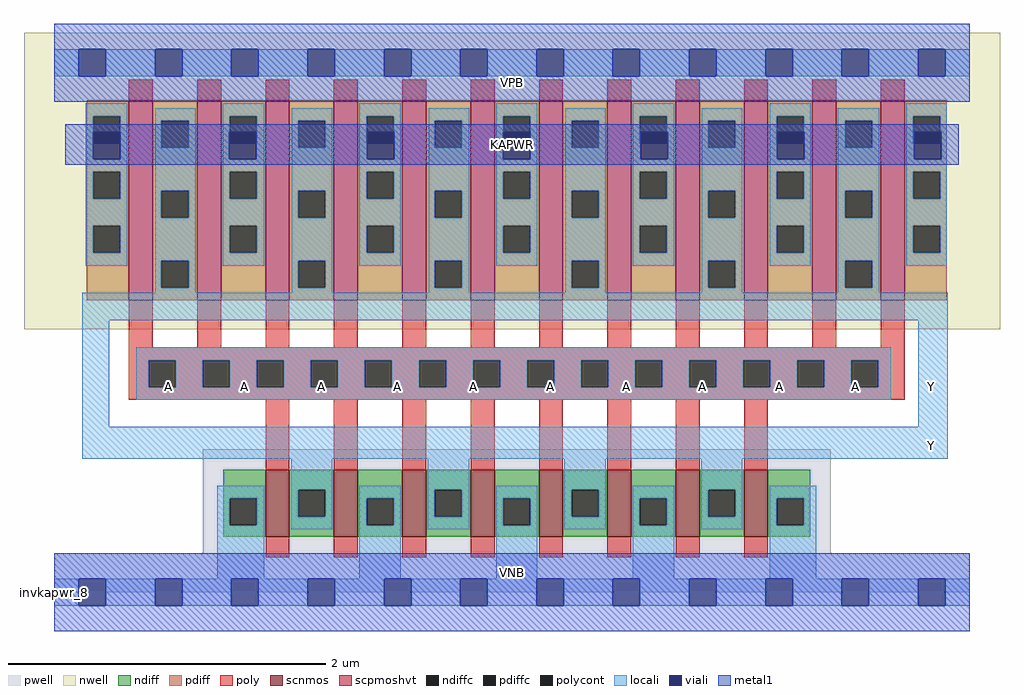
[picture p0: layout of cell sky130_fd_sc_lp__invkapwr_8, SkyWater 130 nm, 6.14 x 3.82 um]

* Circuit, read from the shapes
.subckt sky130_fd_sc_lp__invkapwr_8 A KAPWR VGND VNB VPB VPWR Y
XM1 Y A VGND VNB sky130_fd_pr__nfet_01v8 w=0.42 l=0.15 m=8
XM2 Y A KAPWR VPB sky130_fd_pr__pfet_01v8_hvt w=1.26 l=0.15 m=12
.ends

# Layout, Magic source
magic
tech sky130A
magscale 1 2
<< nwell >>
rect -38 331 1190 704
<< pwell >>
rect 187 49 977 180
rect 0 0 1152 49
<< scnmos >>
rect 266 70 296 154
rect 352 70 382 154
rect 438 70 468 154
rect 524 70 554 154
rect 610 70 640 154
rect 696 70 726 154
rect 782 70 812 154
rect 868 70 898 154
<< scpmoshvt >>
rect 94 367 124 619
rect 180 367 210 619
rect 266 367 296 619
rect 352 367 382 619
rect 438 367 468 619
rect 524 367 554 619
rect 610 367 640 619
rect 696 367 726 619
rect 782 367 812 619
rect 868 367 898 619
rect 954 367 984 619
rect 1040 367 1070 619
<< ndiff >>
rect 213 118 266 154
rect 213 84 221 118
rect 255 84 266 118
rect 213 70 266 84
rect 296 129 352 154
rect 296 95 307 129
rect 341 95 352 129
rect 296 70 352 95
rect 382 118 438 154
rect 382 84 393 118
rect 427 84 438 118
rect 382 70 438 84
rect 468 129 524 154
rect 468 95 479 129
rect 513 95 524 129
rect 468 70 524 95
rect 554 118 610 154
rect 554 84 565 118
rect 599 84 610 118
rect 554 70 610 84
rect 640 129 696 154
rect 640 95 651 129
rect 685 95 696 129
rect 640 70 696 95
rect 726 118 782 154
rect 726 84 737 118
rect 771 84 782 118
rect 726 70 782 84
rect 812 129 868 154
rect 812 95 823 129
rect 857 95 868 129
rect 812 70 868 95
rect 898 118 951 154
rect 898 84 909 118
rect 943 84 951 118
rect 898 70 951 84
<< pdiff >>
rect 41 599 94 619
rect 41 565 49 599
rect 83 565 94 599
rect 41 529 94 565
rect 41 495 49 529
rect 83 495 94 529
rect 41 461 94 495
rect 41 427 49 461
rect 83 427 94 461
rect 41 367 94 427
rect 124 593 180 619
rect 124 559 135 593
rect 169 559 180 593
rect 124 505 180 559
rect 124 471 135 505
rect 169 471 180 505
rect 124 417 180 471
rect 124 383 135 417
rect 169 383 180 417
rect 124 367 180 383
rect 210 599 266 619
rect 210 565 221 599
rect 255 565 266 599
rect 210 529 266 565
rect 210 495 221 529
rect 255 495 266 529
rect 210 461 266 495
rect 210 427 221 461
rect 255 427 266 461
rect 210 367 266 427
rect 296 593 352 619
rect 296 559 307 593
rect 341 559 352 593
rect 296 505 352 559
rect 296 471 307 505
rect 341 471 352 505
rect 296 417 352 471
rect 296 383 307 417
rect 341 383 352 417
rect 296 367 352 383
rect 382 599 438 619
rect 382 565 393 599
rect 427 565 438 599
rect 382 529 438 565
rect 382 495 393 529
rect 427 495 438 529
rect 382 461 438 495
rect 382 427 393 461
rect 427 427 438 461
rect 382 367 438 427
rect 468 593 524 619
rect 468 559 479 593
rect 513 559 524 593
rect 468 505 524 559
rect 468 471 479 505
rect 513 471 524 505
rect 468 417 524 471
rect 468 383 479 417
rect 513 383 524 417
rect 468 367 524 383
rect 554 599 610 619
rect 554 565 565 599
rect 599 565 610 599
rect 554 529 610 565
rect 554 495 565 529
rect 599 495 610 529
rect 554 461 610 495
rect 554 427 565 461
rect 599 427 610 461
rect 554 367 610 427
rect 640 593 696 619
rect 640 559 651 593
rect 685 559 696 593
rect 640 505 696 559
rect 640 471 651 505
rect 685 471 696 505
rect 640 417 696 471
rect 640 383 651 417
rect 685 383 696 417
rect 640 367 696 383
rect 726 599 782 619
rect 726 565 737 599
rect 771 565 782 599
rect 726 529 782 565
rect 726 495 737 529
rect 771 495 782 529
rect 726 461 782 495
rect 726 427 737 461
rect 771 427 782 461
rect 726 367 782 427
rect 812 593 868 619
rect 812 559 823 593
rect 857 559 868 593
rect 812 505 868 559
rect 812 471 823 505
rect 857 471 868 505
rect 812 417 868 471
rect 812 383 823 417
rect 857 383 868 417
rect 812 367 868 383
rect 898 599 954 619
rect 898 565 909 599
rect 943 565 954 599
rect 898 529 954 565
rect 898 495 909 529
rect 943 495 954 529
rect 898 461 954 495
rect 898 427 909 461
rect 943 427 954 461
rect 898 367 954 427
rect 984 593 1040 619
rect 984 559 995 593
rect 1029 559 1040 593
rect 984 505 1040 559
rect 984 471 995 505
rect 1029 471 1040 505
rect 984 417 1040 471
rect 984 383 995 417
rect 1029 383 1040 417
rect 984 367 1040 383
rect 1070 599 1123 619
rect 1070 565 1081 599
rect 1115 565 1123 599
rect 1070 529 1123 565
rect 1070 495 1081 529
rect 1115 495 1123 529
rect 1070 461 1123 495
rect 1070 427 1081 461
rect 1115 427 1123 461
rect 1070 367 1123 427
<< ndiffc >>
rect 221 84 255 118
rect 307 95 341 129
rect 393 84 427 118
rect 479 95 513 129
rect 565 84 599 118
rect 651 95 685 129
rect 737 84 771 118
rect 823 95 857 129
rect 909 84 943 118
<< pdiffc >>
rect 49 565 83 599
rect 49 495 83 529
rect 49 427 83 461
rect 135 559 169 593
rect 135 471 169 505
rect 135 383 169 417
rect 221 565 255 599
rect 221 495 255 529
rect 221 427 255 461
rect 307 559 341 593
rect 307 471 341 505
rect 307 383 341 417
rect 393 565 427 599
rect 393 495 427 529
rect 393 427 427 461
rect 479 559 513 593
rect 479 471 513 505
rect 479 383 513 417
rect 565 565 599 599
rect 565 495 599 529
rect 565 427 599 461
rect 651 559 685 593
rect 651 471 685 505
rect 651 383 685 417
rect 737 565 771 599
rect 737 495 771 529
rect 737 427 771 461
rect 823 559 857 593
rect 823 471 857 505
rect 823 383 857 417
rect 909 565 943 599
rect 909 495 943 529
rect 909 427 943 461
rect 995 559 1029 593
rect 995 471 1029 505
rect 995 383 1029 417
rect 1081 565 1115 599
rect 1081 495 1115 529
rect 1081 427 1115 461
<< poly >>
rect 94 619 124 645
rect 180 619 210 645
rect 266 619 296 645
rect 352 619 382 645
rect 438 619 468 645
rect 524 619 554 645
rect 610 619 640 645
rect 696 619 726 645
rect 782 619 812 645
rect 868 619 898 645
rect 954 619 984 645
rect 1040 619 1070 645
rect 94 308 124 367
rect 180 308 210 367
rect 266 308 296 367
rect 352 308 382 367
rect 438 308 468 367
rect 524 308 554 367
rect 610 308 640 367
rect 696 308 726 367
rect 782 308 812 367
rect 868 308 898 367
rect 954 308 984 367
rect 1040 308 1070 367
rect 94 292 1070 308
rect 94 258 119 292
rect 153 258 187 292
rect 221 258 255 292
rect 289 258 323 292
rect 357 258 391 292
rect 425 258 459 292
rect 493 258 527 292
rect 561 258 595 292
rect 629 258 663 292
rect 697 258 731 292
rect 765 258 799 292
rect 833 258 867 292
rect 901 258 935 292
rect 969 258 1003 292
rect 1037 258 1070 292
rect 94 242 1070 258
rect 266 154 296 242
rect 352 154 382 242
rect 438 154 468 242
rect 524 154 554 242
rect 610 154 640 242
rect 696 154 726 242
rect 782 154 812 242
rect 868 154 898 242
rect 266 44 296 70
rect 352 44 382 70
rect 438 44 468 70
rect 524 44 554 70
rect 610 44 640 70
rect 696 44 726 70
rect 782 44 812 70
rect 868 44 898 70
<< polycont >>
rect 119 258 153 292
rect 187 258 221 292
rect 255 258 289 292
rect 323 258 357 292
rect 391 258 425 292
rect 459 258 493 292
rect 527 258 561 292
rect 595 258 629 292
rect 663 258 697 292
rect 731 258 765 292
rect 799 258 833 292
rect 867 258 901 292
rect 935 258 969 292
rect 1003 258 1037 292
<< locali >>
rect 0 649 31 683
rect 65 649 127 683
rect 161 649 223 683
rect 257 649 319 683
rect 353 649 415 683
rect 449 649 511 683
rect 545 649 607 683
rect 641 649 703 683
rect 737 649 799 683
rect 833 649 895 683
rect 929 649 991 683
rect 1025 649 1087 683
rect 1121 649 1152 683
rect 40 599 92 615
rect 40 545 49 599
rect 83 545 92 599
rect 40 529 92 545
rect 40 495 49 529
rect 83 495 92 529
rect 40 461 92 495
rect 40 427 49 461
rect 83 427 92 461
rect 40 411 92 427
rect 127 593 178 609
rect 127 559 135 593
rect 169 559 178 593
rect 127 505 178 559
rect 127 471 135 505
rect 169 471 178 505
rect 127 417 178 471
rect 127 383 135 417
rect 169 383 178 417
rect 212 599 264 615
rect 212 579 221 599
rect 212 545 220 579
rect 255 565 264 599
rect 254 545 264 565
rect 212 529 264 545
rect 212 495 221 529
rect 255 495 264 529
rect 212 461 264 495
rect 212 427 221 461
rect 255 427 264 461
rect 212 411 264 427
rect 299 593 350 609
rect 299 559 307 593
rect 341 559 350 593
rect 299 505 350 559
rect 299 471 307 505
rect 341 471 350 505
rect 299 417 350 471
rect 127 377 178 383
rect 299 383 307 417
rect 341 383 350 417
rect 384 599 436 615
rect 384 565 393 599
rect 427 579 436 599
rect 384 545 394 565
rect 428 545 436 579
rect 384 529 436 545
rect 384 495 393 529
rect 427 495 436 529
rect 384 461 436 495
rect 384 427 393 461
rect 427 427 436 461
rect 384 411 436 427
rect 471 593 522 609
rect 471 559 479 593
rect 513 559 522 593
rect 471 505 522 559
rect 471 471 479 505
rect 513 471 522 505
rect 471 417 522 471
rect 299 377 350 383
rect 471 383 479 417
rect 513 383 522 417
rect 556 599 608 615
rect 556 545 565 599
rect 599 545 608 599
rect 556 529 608 545
rect 556 495 565 529
rect 599 495 608 529
rect 556 461 608 495
rect 556 427 565 461
rect 599 427 608 461
rect 556 411 608 427
rect 643 593 694 609
rect 643 559 651 593
rect 685 559 694 593
rect 643 505 694 559
rect 643 471 651 505
rect 685 471 694 505
rect 643 417 694 471
rect 471 377 522 383
rect 643 383 651 417
rect 685 383 694 417
rect 728 599 780 615
rect 728 565 737 599
rect 771 579 780 599
rect 728 545 738 565
rect 772 545 780 579
rect 728 529 780 545
rect 728 495 737 529
rect 771 495 780 529
rect 728 461 780 495
rect 728 427 737 461
rect 771 427 780 461
rect 728 411 780 427
rect 815 593 866 609
rect 815 559 823 593
rect 857 559 866 593
rect 815 505 866 559
rect 815 471 823 505
rect 857 471 866 505
rect 815 417 866 471
rect 643 377 694 383
rect 815 383 823 417
rect 857 383 866 417
rect 900 599 952 615
rect 900 565 909 599
rect 943 579 952 599
rect 900 545 910 565
rect 944 545 952 579
rect 900 529 952 545
rect 900 495 909 529
rect 943 495 952 529
rect 900 461 952 495
rect 900 427 909 461
rect 943 427 952 461
rect 900 411 952 427
rect 986 593 1038 609
rect 986 559 995 593
rect 1029 559 1038 593
rect 986 505 1038 559
rect 986 471 995 505
rect 1029 471 1038 505
rect 986 417 1038 471
rect 815 377 866 383
rect 986 383 995 417
rect 1029 383 1038 417
rect 1072 599 1123 615
rect 1072 565 1081 599
rect 1115 579 1123 599
rect 1072 545 1082 565
rect 1116 545 1123 579
rect 1072 529 1123 545
rect 1072 495 1081 529
rect 1115 495 1123 529
rect 1072 461 1123 495
rect 1072 427 1081 461
rect 1115 427 1123 461
rect 1072 411 1123 427
rect 986 377 1038 383
rect 35 342 1124 377
rect 35 208 69 342
rect 103 292 1053 308
rect 103 258 119 292
rect 153 258 187 292
rect 221 258 255 292
rect 289 258 323 292
rect 357 258 391 292
rect 425 258 459 292
rect 493 258 527 292
rect 561 258 595 292
rect 629 258 663 292
rect 697 258 731 292
rect 765 258 799 292
rect 833 258 867 292
rect 901 258 935 292
rect 969 258 1003 292
rect 1037 258 1053 292
rect 103 242 1053 258
rect 1087 208 1124 342
rect 35 168 1124 208
rect 205 118 264 134
rect 205 84 221 118
rect 255 84 264 118
rect 205 17 264 84
rect 298 129 350 168
rect 298 95 307 129
rect 341 95 350 129
rect 298 79 350 95
rect 384 118 436 134
rect 384 84 393 118
rect 427 84 436 118
rect 384 17 436 84
rect 470 129 522 168
rect 470 95 479 129
rect 513 95 522 129
rect 470 79 522 95
rect 556 118 608 134
rect 556 84 565 118
rect 599 84 608 118
rect 556 17 608 84
rect 642 129 694 168
rect 642 95 651 129
rect 685 95 694 129
rect 642 79 694 95
rect 728 118 780 134
rect 728 84 737 118
rect 771 84 780 118
rect 728 17 780 84
rect 814 129 866 168
rect 814 95 823 129
rect 857 95 866 129
rect 814 79 866 95
rect 900 118 959 134
rect 900 84 909 118
rect 943 84 959 118
rect 900 17 959 84
rect 0 -17 31 17
rect 65 -17 127 17
rect 161 -17 223 17
rect 257 -17 319 17
rect 353 -17 415 17
rect 449 -17 511 17
rect 545 -17 607 17
rect 641 -17 703 17
rect 737 -17 799 17
rect 833 -17 895 17
rect 929 -17 991 17
rect 1025 -17 1087 17
rect 1121 -17 1152 17
<< viali >>
rect 31 649 65 683
rect 127 649 161 683
rect 223 649 257 683
rect 319 649 353 683
rect 415 649 449 683
rect 511 649 545 683
rect 607 649 641 683
rect 703 649 737 683
rect 799 649 833 683
rect 895 649 929 683
rect 991 649 1025 683
rect 1087 649 1121 683
rect 49 565 83 579
rect 49 545 83 565
rect 220 565 221 579
rect 221 565 254 579
rect 220 545 254 565
rect 394 565 427 579
rect 427 565 428 579
rect 394 545 428 565
rect 565 565 599 579
rect 565 545 599 565
rect 738 565 771 579
rect 771 565 772 579
rect 738 545 772 565
rect 910 565 943 579
rect 943 565 944 579
rect 910 545 944 565
rect 1082 565 1115 579
rect 1115 565 1116 579
rect 1082 545 1116 565
rect 31 -17 65 17
rect 127 -17 161 17
rect 223 -17 257 17
rect 319 -17 353 17
rect 415 -17 449 17
rect 511 -17 545 17
rect 607 -17 641 17
rect 703 -17 737 17
rect 799 -17 833 17
rect 895 -17 929 17
rect 991 -17 1025 17
rect 1087 -17 1121 17
<< metal1 >>
rect 0 683 1152 715
rect 0 649 31 683
rect 65 649 127 683
rect 161 649 223 683
rect 257 649 319 683
rect 353 649 415 683
rect 449 649 511 683
rect 545 649 607 683
rect 641 649 703 683
rect 737 649 799 683
rect 833 649 895 683
rect 929 649 991 683
rect 1025 649 1087 683
rect 1121 649 1152 683
rect 0 617 1152 649
rect 14 579 1138 589
rect 14 545 49 579
rect 83 545 220 579
rect 254 545 394 579
rect 428 545 565 579
rect 599 545 738 579
rect 772 545 910 579
rect 944 545 1082 579
rect 1116 545 1138 579
rect 14 538 1138 545
rect 0 17 1152 49
rect 0 -17 31 17
rect 65 -17 127 17
rect 161 -17 223 17
rect 257 -17 319 17
rect 353 -17 415 17
rect 449 -17 511 17
rect 545 -17 607 17
rect 641 -17 703 17
rect 737 -17 799 17
rect 833 -17 895 17
rect 929 -17 991 17
rect 1025 -17 1087 17
rect 1121 -17 1152 17
rect 0 -49 1152 -17
<< labels >>
flabel pwell s 0 0 1152 49 0 FreeSans 200 0 0 0 VNB
port 4 nsew ground bidirectional
flabel nwell s 0 617 1152 666 0 FreeSans 200 0 0 0 VPB
port 5 nsew power bidirectional
rlabel comment s 0 0 0 0 4 invkapwr_8
flabel metal1 s 0 617 1152 666 0 FreeSans 340 0 0 0 VPWR
port 6 nsew power bidirectional
flabel metal1 s 0 0 1152 49 0 FreeSans 340 0 0 0 VGND
port 3 nsew ground bidirectional
flabel metal1 s 14 538 1138 589 0 FreeSans 200 0 0 0 KAPWR
port 2 nsew power bidirectional
flabel locali s 895 242 929 276 0 FreeSans 340 0 0 0 A
port 1 nsew signal input
flabel locali s 991 242 1025 276 0 FreeSans 340 0 0 0 A
port 1 nsew signal input
flabel locali s 1087 168 1121 202 0 FreeSans 340 0 0 0 Y
port 7 nsew signal output
flabel locali s 1087 242 1121 276 0 FreeSans 340 0 0 0 Y
port 7 nsew signal output
flabel locali s 607 242 641 276 0 FreeSans 340 0 0 0 A
port 1 nsew signal input
flabel locali s 799 242 833 276 0 FreeSans 340 0 0 0 A
port 1 nsew signal input
flabel locali s 703 242 737 276 0 FreeSans 340 0 0 0 A
port 1 nsew signal input
flabel locali s 127 242 161 276 0 FreeSans 340 0 0 0 A
port 1 nsew signal input
flabel locali s 319 242 353 276 0 FreeSans 340 0 0 0 A
port 1 nsew signal input
flabel locali s 223 242 257 276 0 FreeSans 340 0 0 0 A
port 1 nsew signal input
flabel locali s 415 242 449 276 0 FreeSans 340 0 0 0 A
port 1 nsew signal input
flabel locali s 511 242 545 276 0 FreeSans 340 0 0 0 A
port 1 nsew signal input
<< properties >>
string LEFsite unit
string LEFclass CORE
string FIXED_BBOX 0 0 1152 666
string GDS_FILE $PDKPATH/libs.ref/sky130_fd_sc_lp/gds/sky130_fd_sc_lp.gds
string LEFsymmetry X Y
string GDS_END 3700086
string GDS_START 3689228
<< end >>
